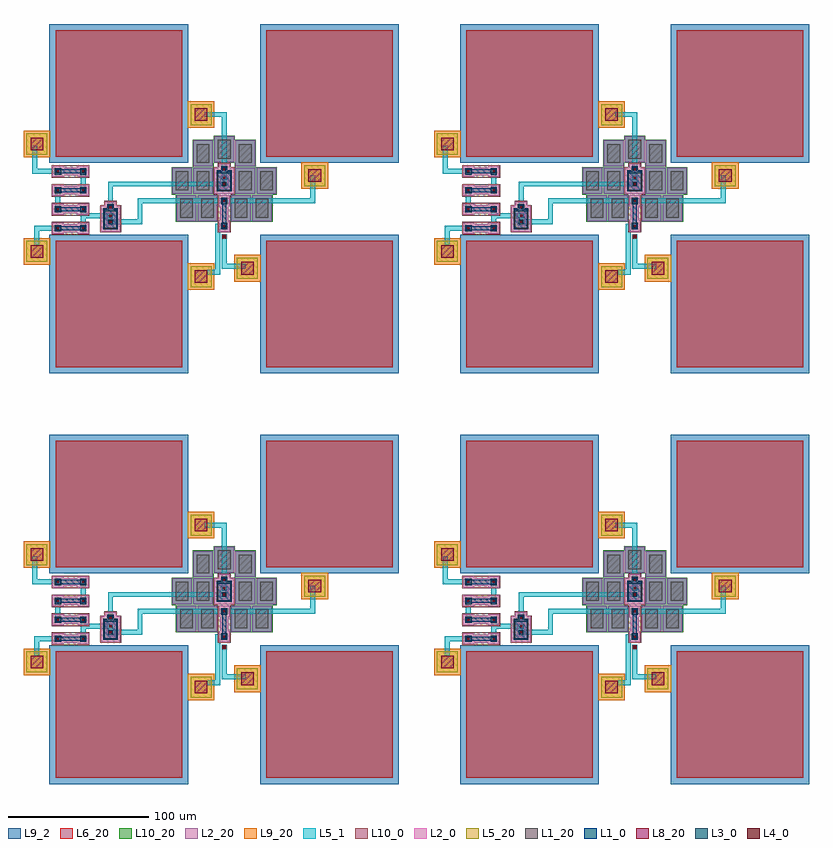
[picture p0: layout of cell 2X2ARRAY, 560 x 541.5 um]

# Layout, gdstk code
from math import pi, radians
import gdstk
lib = gdstk.Library(unit=1e-6, precision=1e-09)
def R(c, l, rs):  # rectangles x0, y0, x1, y1
    for r in rs: c.add(gdstk.rectangle(r[:2], r[2:], *l))
def A(c, l, x, y, w, h, nx, ny, dx, dy):  # array of equal rectangles
    R(c, l, [(x+i*dx, y+j*dy, x+i*dx+w, y+j*dy+h) for i in range(nx) for j in range(ny)])
L1_0 = (1, 0)
L1_20 = (1, 20)
L2_0 = (2, 0)
L2_20 = (2, 20)
L3_0 = (3, 0)
L4_0 = (4, 0)
L5_1 = (5, 1)
L5_20 = (5, 20)
L6_20 = (6, 20)
L8_20 = (8, 20)
L9_2 = (9, 2)
L9_20 = (9, 20)
L10_0 = (10, 0)
L10_20 = (10, 20)
L42_20 = (42, 20)

pad4mils = lib.new_cell('PAD4MILS')
R(pad4mils, L6_20, [(4.5,4.5,94.5,94.5)])
R(pad4mils, L9_2, [(0,0,99,99)])

c_qe = lib.new_cell('QE')
R(c_qe, L1_0, [(-4.5,-4.5,9,4.5)])
R(c_qe, L2_0, [(-7,-7,11.5,-2.5), (-7,-2.5,-2.5,2.5), (6,-2.5,11.5,2.5), (-7,2.5,11.5,7)])
R(c_qe, L3_0, [(-5.25,-5.25,9.75,-4.25), (-5.25,-4.25,-4.25,4.25), (7.75,-4.25,9.75,4.25), (-1.5,-1.5,1.5,1.5), (-5.25,4.25,9.75,5.25)])
R(c_qe, L4_0, [(-0.75,-0.75,0.75,0.75), (3.75,-0.75,5.25,0.75)])
R(c_qe, L10_0, [(-7.5,-7.5,12,7.5)])

tqe = lib.new_cell('TQE')
R(tqe, L1_0, [(9,-1.5,12,1.5)])
R(tqe, L2_0, [(11.5,-4,14.5,4)])
R(tqe, L3_0, [(9.75,-2.25,12.75,2.25)])
R(tqe, L4_0, [(9.75,-0.75,11.25,0.75)])
R(tqe, L10_0, [(12,-4.5,15,4.5)])
tqe.add(gdstk.FlexPath([(9,0),(10.5,0)], 0, ends="flush", simple_path=True, layer=42, datatype=20))  # L42_20
tqe.add(gdstk.Reference(c_qe, (0,0)))

padcont = lib.new_cell('PADCONT')
R(padcont, L5_20, [(0,0,15,15)])
R(padcont, L8_20, [(3,3,12,12)])
R(padcont, L9_20, [(-2,-2,17,17)])

scnt = lib.new_cell('SCNT')
R(scnt, L4_0, [(-0.75,-0.75,0.75,0.75)])
R(scnt, L10_0, [(-1.5,-1.5,1.5,1.5)])

plug2 = lib.new_cell('PLUG2')
R(plug2, L1_20, [(3,1.5,16.5,10.5)])
R(plug2, L2_20, [(0.5,-1,19,13)])
R(plug2, L10_20, [(0,-1.5,19.5,13.5)])

topmostst = lib.new_cell('TOPMOSTST')
A(topmostst, L1_0, 4.5, 102, 21, 3, 1, 4, 0, 13.5)
R(topmostst, L1_0, [(123,103.5,126,124.5)])
A(topmostst, L2_0, 2, 99.5, 8, 8, 1, 4, 0, 13.5)
A(topmostst, L2_0, 20, 99.5, 8, 8, 1, 4, 0, 13.5)
A(topmostst, L2_0, 10, 100.75, 10, 5.5, 1, 4, 0, 13.5)
R(topmostst, L2_0, [(120.5,101,128.5,109), (121.75,109,127.25,119), (120.5,119,128.5,127)])
A(topmostst, L3_0, 3.75, 101.25, 4.5, 4.5, 1, 4, 0, 13.5)
A(topmostst, L3_0, 21.75, 101.25, 4.5, 4.5, 1, 4, 0, 13.5)
R(topmostst, L3_0, [(122.25,102.75,126.75,107.25), (122.25,120.75,126.75,125.25)])
A(topmostst, L4_0, 5.25, 102.75, 1.5, 1.5, 1, 4, 0, 13.5)
A(topmostst, L4_0, 23.25, 102.75, 1.5, 1.5, 1, 4, 0, 13.5)
R(topmostst, L4_0, [(123.75,104.25,125.25,105.75), (123.75,122.25,125.25,123.75)])
A(topmostst, L10_0, 1.5, 99, 9, 9, 3, 4, 9, 13.5)
A(topmostst, L10_0, 120, 100.5, 9, 9, 1, 3, 0, 9)
topmostst.add(gdstk.FlexPath([(124.5,123),(124.5,105)], 0, ends="flush", simple_path=True, layer=42, datatype=20))  # L42_20
topmostst.add(gdstk.FlexPath([(6,144),(24,144)], 0, ends="flush", simple_path=True, layer=42, datatype=20))  # L42_20
topmostst.add(gdstk.FlexPath([(6,130.5),(24,130.5)], 0, ends="flush", simple_path=True, layer=42, datatype=20))  # L42_20
topmostst.add(gdstk.FlexPath([(6,117),(24,117)], 0, ends="flush", simple_path=True, layer=42, datatype=20))  # L42_20
topmostst.add(gdstk.FlexPath([(6,103.5),(24,103.5)], 0, ends="flush", simple_path=True, layer=42, datatype=20))  # L42_20
topmostst.add(gdstk.FlexPath([(6,103.5),(-9,103.5),(-9,93)], 3.5, ends="extended", simple_path=True, layer=5, datatype=1))  # L5_1
topmostst.add(gdstk.FlexPath([(24,103.5),(24,117)], 3.5, ends="extended", simple_path=True, layer=5, datatype=1))  # L5_1
topmostst.add(gdstk.FlexPath([(6,117),(6,130.5)], 3.5, ends="extended", simple_path=True, layer=5, datatype=1))  # L5_1
topmostst.add(gdstk.FlexPath([(24,130.5),(24,144)], 3.5, ends="extended", simple_path=True, layer=5, datatype=1))  # L5_1
topmostst.add(gdstk.FlexPath([(6,144),(-10.5,144),(-10.5,160.5)], 3.5, ends="extended", simple_path=True, layer=5, datatype=1))  # L5_1
topmostst.add(gdstk.FlexPath([(24,112.5),(43.5,112.5)], 3.5, ends="extended", simple_path=True, layer=5, datatype=1))  # L5_1
topmostst.add(gdstk.FlexPath([(124.5,123),(64.5,123),(64.5,108),(43.5,108)], 3.5, ends="extended", simple_path=True, layer=5, datatype=1))  # L5_1
topmostst.add(gdstk.FlexPath([(124.5,105),(120,105),(120,72),(114,72)], 3.5, ends="extended", simple_path=True, layer=5, datatype=1))  # L5_1
topmostst.add(gdstk.FlexPath([(124.5,97.5),(124.5,76.5),(138,76.5)], 3.5, ends="extended", simple_path=True, layer=5, datatype=1))  # L5_1
topmostst.add(gdstk.FlexPath([(124.5,139.5),(124.5,184.5),(112.5,184.5)], 3.5, ends="extended", simple_path=True, layer=5, datatype=1))  # L5_1
topmostst.add(gdstk.FlexPath([(124.5,123),(187.5,123),(187.5,139.5)], 3.5, ends="extended", simple_path=True, layer=5, datatype=1))  # L5_1
topmostst.add(gdstk.FlexPath([(124.5,135),(43.5,135),(43.5,118.5)], 3.5, ends="extended", simple_path=True, layer=5, datatype=1))  # L5_1
topmostst.add(gdstk.Reference(pad4mils, (0,0)))
topmostst.add(gdstk.Reference(pad4mils, (0,150)))
topmostst.add(gdstk.Reference(pad4mils, (150,150)))
topmostst.add(gdstk.Reference(pad4mils, (150,0)))
topmostst.add(gdstk.Reference(tqe, (124.5,135), rotation=pi/2))
topmostst.add(gdstk.Reference(padcont, (-1.5,79.5), rotation=pi/2))
topmostst.add(gdstk.Reference(scnt, (124.5,97.5), rotation=pi/2))
topmostst.add(gdstk.Reference(padcont, (-1.5,156), rotation=pi/2))
topmostst.add(gdstk.Reference(padcont, (196.5,133.5), rotation=pi/2))
topmostst.add(gdstk.Reference(padcont, (148.5,67.5), rotation=pi/2))
topmostst.add(gdstk.Reference(tqe, (43.5,108), rotation=pi/2))
topmostst.add(gdstk.Reference(padcont, (115.5,61.5), rotation=pi/2))
topmostst.add(gdstk.Reference(padcont, (115.5,177), rotation=pi/2))
topmostst.add(gdstk.Reference(plug2, (115.5,127.5), rotation=pi/2))
topmostst.add(gdstk.Reference(plug2, (145.5,127.5), rotation=pi/2))
topmostst.add(gdstk.Reference(plug2, (145.5,147), rotation=pi/2))
topmostst.add(gdstk.Reference(plug2, (130.5,150), rotation=pi/2))
topmostst.add(gdstk.Reference(plug2, (115.5,147), rotation=pi/2))
topmostst.add(gdstk.Reference(plug2, (142.5,108), rotation=pi/2))
topmostst.add(gdstk.Reference(plug2, (118.5,108), rotation=pi/2))
topmostst.add(gdstk.Reference(plug2, (100.5,127.5), rotation=pi/2))
topmostst.add(gdstk.Reference(plug2, (103.5,108), rotation=pi/2))
topmostst.add(gdstk.Reference(plug2, (157.5,108), rotation=pi/2))
topmostst.add(gdstk.Reference(plug2, (160.5,127.5), rotation=pi/2))
topmostst.add(gdstk.Label('W', (9,240), layer=21, texttype=21))
topmostst.add(gdstk.Label('X', (157.5,241.5), layer=21, texttype=21))
topmostst.add(gdstk.Label('B', (7.5,88.5), layer=21, texttype=21))
topmostst.add(gdstk.Label('S', (159,88.5), layer=21, texttype=21))
topmostst.add(gdstk.Label('TOPMOSTST', (0,277.5), layer=21, texttype=21))
topmostst.add(gdstk.Label('R', (204,183), layer=21, texttype=21))

c_2x2array = lib.new_cell('2X2ARRAY')
c_2x2array.add(gdstk.Reference(topmostst, (36,-285)))
c_2x2array.add(gdstk.Reference(topmostst, (-256.5,-285)))
c_2x2array.add(gdstk.Reference(topmostst, (-256.5,7.5)))
c_2x2array.add(gdstk.Reference(topmostst, (36,7.5)))

lib.write_gds('2X2ARRAY.gds')
